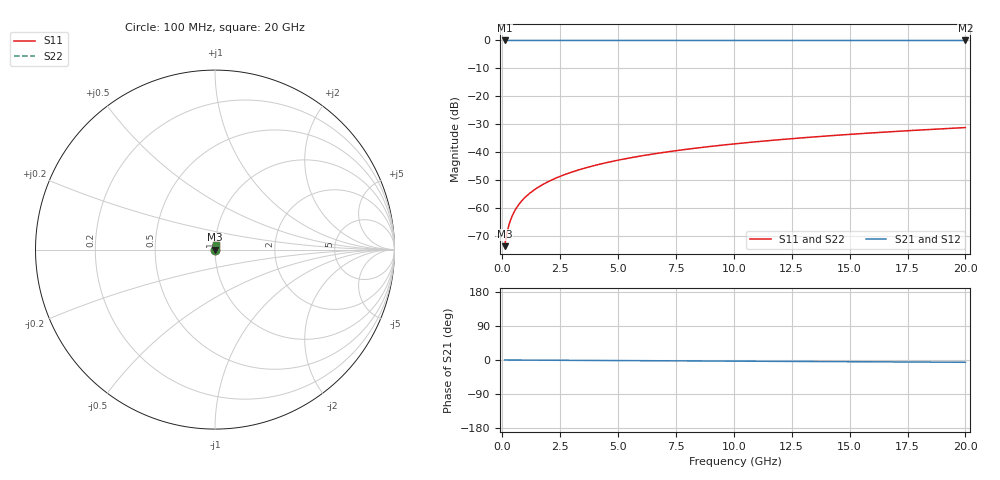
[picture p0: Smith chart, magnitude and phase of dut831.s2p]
! Touchstone file exported from HFSS 2026.1.0
!  File:  C:/ffzhzh/LocalFiles/Ansys_Project_Files/temp_train_TSV_831_1783184733_51560.aedt
!  Generated:  01:07:10 AM Jul  5, 2026
!  Design:  TSV
!  Project:  temp_train_TSV_831_1783184733_51560
! Variables:
!  h_bsmrdl = 2um
!  h_ox = 20um
!  h_rdl = 5um
!  h_sub = 52.32um
!  h_tmrdl = 5um
!  h_tsv = 52.32um
!  h_via = 3um
!  l_bsmrdl = 300um
!  l_sub = 416.88um
!  l_tmrdl = 200um
!  m_sub = 200um
!  pitch = 46.28um
!  r_tsv = 8.44um
!  s_tmrdl = 10um
!  w_bsmrdl = 18um
!  w_sub = 500um
!  w_tmrdl = 12um
!  x_tsv_center1 = 206um
!  x_tsv_center2 = 524um
!  x_tsv_center3 = 736um
!  x_tsv_center4 = 1054um
!  x_tsv_center5 = 1266um
!  x_tsv_center6 = 1584um
# GHz S MA R 50.000000
! Terminal data exported
! Port[1] = TSV1_1_T1
! Port[2] = TSV1_1_T2
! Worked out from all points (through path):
!   200 points, 100 MHz to 20 GHz, reference 50 ohm
!   highest |S21| = 0.00 dB at 100 MHz (marker M1); lowest = 0.0 dB at 20 GHz (marker M2)
!   lowest |S11| = -73.7 dB at 100 MHz (marker M3), VSWR 1.00, Z = 50 + j0.0169 ohm
!   |S11| at or under -10 dB: start of sweep to end of sweep
!   |S22| runs from -73.7 to -31.2 dB; largest |S21 - S12| = 5.4e-15
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0.1  0.0002066 54.8  0.9999 -0.0  0.9999 -0.0  0.0002066 54.8
! Gamma 0 0 0 0
! Port Impedance 50 0 50 0
0.2  0.000359 69.1  0.9999 -0.1  0.9999 -0.1  0.000359 69.1
0.3  0.0005184 74.2  0.9999 -0.1  0.9999 -0.1  0.0005184 74.2
0.4  0.0006766 76.6  0.9998 -0.1  0.9998 -0.1  0.0006766 76.6
0.5  0.0008317 77.9  0.9998 -0.2  0.9998 -0.2  0.0008317 77.9
0.6  0.0009836 78.8  0.9998 -0.2  0.9998 -0.2  0.0009836 78.8
0.7  0.001133 79.4  0.9998 -0.2  0.9998 -0.2  0.001133 79.4
0.8  0.001279 79.9  0.9998 -0.2  0.9998 -0.2  0.001279 79.9
1  0.001568 80.7  0.9998 -0.3  0.9998 -0.3  0.001568 80.7
1.4  0.002135 81.9  0.9997 -0.4  0.9997 -0.4  0.002135 81.9
1.7  0.002558 82.6  0.9997 -0.5  0.9997 -0.5  0.002558 82.6
2  0.00298 83.1  0.9997 -0.6  0.9997 -0.6  0.00298 83.1
2.7  0.003965 83.8  0.9996 -0.8  0.9996 -0.8  0.003965 83.8
3.5  0.005086 84.2  0.9996 -1.1  0.9996 -1.1  0.005086 84.2
4.2  0.006062 84.4  0.9995 -1.3  0.9995 -1.3  0.006062 84.4
5  0.007172 84.5  0.9995 -1.5  0.9995 -1.5  0.007172 84.5
6.8  0.009649 84.5  0.9994 -2.0  0.9994 -2.0  0.009649 84.5
8.3  0.0117 84.3  0.9993 -2.5  0.9993 -2.5  0.0117 84.3
10.1  0.01415 84.1  0.9992 -3.0  0.9992 -3.0  0.01415 84.1
13.4  0.01863 83.5  0.999 -4.0  0.999 -4.0  0.01863 83.5
16.7  0.02308 82.7  0.9988 -5.0  0.9988 -5.0  0.02308 82.7
20  0.0275 81.9  0.9986 -6.0  0.9986 -6.0  0.0275 81.9
